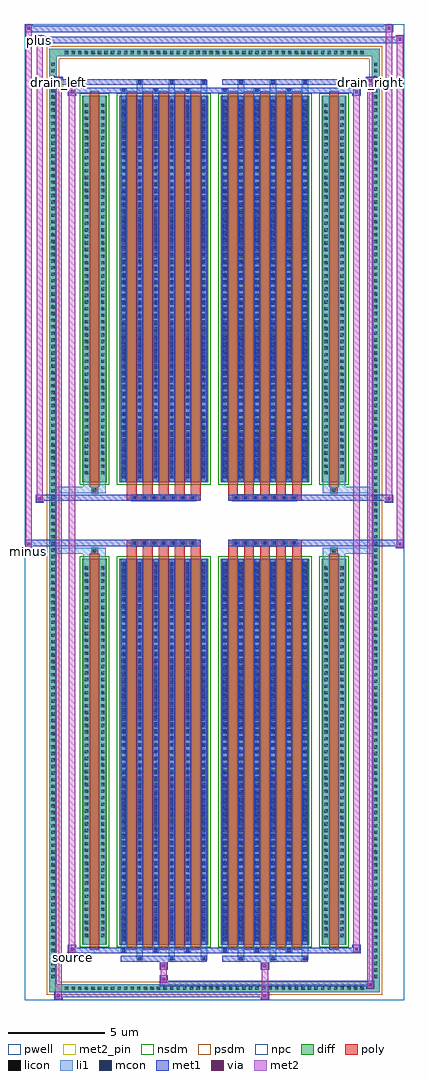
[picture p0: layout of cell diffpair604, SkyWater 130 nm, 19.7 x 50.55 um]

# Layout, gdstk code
import gdstk
lib = gdstk.Library(unit=1e-6, precision=5e-09)
def R(c, l, rs):  # rectangles x0, y0, x1, y1
    for r in rs: c.add(gdstk.rectangle(r[:2], r[2:], *l))
def A(c, l, x, y, w, h, nx, ny, dx, dy):  # array of equal rectangles
    R(c, l, [(x+i*dx, y+j*dy, x+i*dx+w, y+j*dy+h) for i in range(nx) for j in range(ny)])
def P(c, l, *ps):  # polygons
    for p in ps: c.add(gdstk.Polygon(p, *l))
pwell = (64, 44)
diff = (65, 20)
poly = (66, 20)
licon = (66, 44)
li1 = (67, 20)
mcon = (67, 44)
met1 = (68, 20)
via = (68, 44)
met2_pin = (69, 16)
met2 = (69, 20)
nsdm = (93, 44)
psdm = (94, 20)
npc = (95, 20)

diffpair604 = lib.new_cell('diffpair604')
R(diffpair604, pwell, [(-9.83,-24.84,9.83,25.71), (-7.15,-23.03,-0.01,-0.805), (0.01,-23.03,7.15,-0.805), (-7.15,0.805,-0.01,23.03), (0.01,0.805,7.15,23.03)])
A(diffpair604, diff, -7.855, -24.44, 0.41, 0.41, 46, 2, 0.34, 48.47)
A(diffpair604, diff, -8.56, -23.835, 0.41, 0.41, 1, 140, 0, 0.34)
A(diffpair604, diff, 8.15, -23.835, 0.41, 0.41, 1, 140, 0, 0.34)
R(diffpair604, diff, [(-7.855,-24.44,7.855,-24.03), (-8.56,-23.835,-8.15,23.835), (8.15,-23.835,8.56,23.835), (-6.84,-21.985,-5.56,-1.985), (-4.92,-21.985,-0.32,-1.985), (0.32,-21.985,4.92,-1.985), (5.56,-21.985,6.84,-1.985), (-6.84,1.985,-5.56,21.985), (-4.92,1.985,-0.32,21.985), (0.32,1.985,4.92,21.985), (5.56,1.985,6.84,21.985), (-7.855,24.03,7.855,24.44)])
P(diffpair604, diff, [(8.56,24.44),(-8.56,24.44),(-8.56,-24.03),(-8.15,-24.03),(-8.15,24.03),(8.15,24.03),(8.15,-24.03),(-8.15,-24.03),(-8.56,-24.03),(-8.56,-24.44),(8.56,-24.44)])
A(diffpair604, poly, -4.53, -22.235, 0.5, 20.5, 5, 2, 0.83, 23.97)
A(diffpair604, poly, 0.71, -22.235, 0.5, 20.5, 5, 2, 0.83, 23.97)
A(diffpair604, poly, -4.53, -1.735, 0.5, 0.4, 5, 2, 0.83, 3.07)
A(diffpair604, poly, 0.71, -1.735, 0.5, 0.4, 5, 2, 0.83, 3.07)
A(diffpair604, poly, -4.285, -1.335, 0.33, 0.33, 7, 2, 0.5, 2.34)
A(diffpair604, poly, 0.955, -1.335, 0.33, 0.33, 7, 2, 0.5, 2.34)
R(diffpair604, poly, [(-6.45,-22.235,-5.95,-1.735), (5.95,-22.235,6.45,-1.735), (-6.365,-1.735,-6.035,-1.405), (-6.365,-1.735,-6.035,-1.405), (6.035,-1.735,6.365,-1.405), (6.035,-1.735,6.365,-1.405), (-4.53,-1.335,-0.71,-1.005), (0.71,-1.335,4.53,-1.005), (-4.53,1.005,-0.71,1.335), (0.71,1.005,4.53,1.335), (-6.365,1.405,-6.035,1.735), (-6.365,1.405,-6.035,1.735), (6.035,1.405,6.365,1.735), (6.035,1.405,6.365,1.735), (-6.45,1.735,-5.95,22.235), (5.95,1.735,6.45,22.235)])
A(diffpair604, licon, -7.735, -24.32, 0.17, 0.17, 46, 2, 0.34, 48.47)
A(diffpair604, licon, -8.44, -23.715, 0.17, 0.17, 1, 140, 0, 0.34)
A(diffpair604, licon, 8.27, -23.715, 0.17, 0.17, 1, 140, 0, 0.34)
A(diffpair604, licon, -6.7, -21.59, 0.17, 0.17, 1, 57, 0, 0.34)
A(diffpair604, licon, -5.87, -21.59, 0.17, 0.17, 1, 57, 0, 0.34)
A(diffpair604, licon, -4.78, -21.59, 0.17, 0.17, 6, 57, 0.83, 0.34)
A(diffpair604, licon, 0.46, -21.59, 0.17, 0.17, 6, 57, 0.83, 0.34)
A(diffpair604, licon, 5.7, -21.59, 0.17, 0.17, 1, 57, 0, 0.34)
A(diffpair604, licon, 6.53, -21.59, 0.17, 0.17, 1, 57, 0, 0.34)
A(diffpair604, licon, -4.205, -1.255, 0.17, 0.17, 7, 2, 0.5, 2.34)
A(diffpair604, licon, 1.035, -1.255, 0.17, 0.17, 7, 2, 0.5, 2.34)
A(diffpair604, licon, -6.7, 2.38, 0.17, 0.17, 1, 57, 0, 0.34)
A(diffpair604, licon, -5.87, 2.38, 0.17, 0.17, 1, 57, 0, 0.34)
A(diffpair604, licon, -4.78, 2.38, 0.17, 0.17, 6, 57, 0.83, 0.34)
A(diffpair604, licon, 0.46, 2.38, 0.17, 0.17, 6, 57, 0.83, 0.34)
A(diffpair604, licon, 5.7, 2.38, 0.17, 0.17, 1, 57, 0, 0.34)
A(diffpair604, licon, 6.53, 2.38, 0.17, 0.17, 1, 57, 0, 0.34)
R(diffpair604, licon, [(-6.285,-1.655,-6.115,-1.485), (6.115,-1.655,6.285,-1.485), (-6.285,1.485,-6.115,1.655), (6.115,1.485,6.285,1.655)])
A(diffpair604, li1, -7.815, -24.4, 0.33, 0.33, 46, 2, 0.34, 48.47)
A(diffpair604, li1, -8.52, -23.795, 0.33, 0.33, 1, 140, 0, 0.34)
A(diffpair604, li1, 8.19, -23.795, 0.33, 0.33, 1, 140, 0, 0.34)
A(diffpair604, li1, -4.03, -22.79, 0.33, 0.805, 3, 2, 1.66, 44.775)
A(diffpair604, li1, -3.95, -22.79, 0.17, 0.17, 3, 2, 1.66, 45.41)
A(diffpair604, li1, 1.21, -22.79, 0.33, 0.805, 3, 2, 1.66, 44.775)
A(diffpair604, li1, 1.29, -22.79, 0.17, 0.17, 3, 2, 1.66, 45.41)
A(diffpair604, li1, -4.86, -22.36, 0.33, 0.375, 3, 2, 1.66, 44.345)
A(diffpair604, li1, -4.78, -22.36, 0.17, 0.17, 3, 2, 1.66, 44.55)
A(diffpair604, li1, 0.38, -22.36, 0.33, 0.375, 3, 2, 1.66, 44.345)
A(diffpair604, li1, 0.46, -22.36, 0.17, 0.17, 3, 2, 1.66, 44.55)
A(diffpair604, li1, -4.86, -21.985, 0.33, 20, 6, 2, 0.83, 23.97)
A(diffpair604, li1, 0.38, -21.985, 0.33, 20, 6, 2, 0.83, 23.97)
A(diffpair604, li1, -4.78, -21.79, 0.17, 0.17, 6, 55, 0.83, 0.36)
A(diffpair604, li1, -4.78, -21.79, 0.17, 19.61, 6, 2, 0.83, 23.97)
A(diffpair604, li1, 0.46, -21.79, 0.17, 0.17, 6, 55, 0.83, 0.36)
A(diffpair604, li1, 0.46, -21.79, 0.17, 19.61, 6, 2, 0.83, 23.97)
A(diffpair604, li1, -6.78, -21.67, 0.33, 0.33, 1, 57, 0, 0.34)
A(diffpair604, li1, -5.95, -21.67, 0.33, 0.33, 1, 57, 0, 0.34)
A(diffpair604, li1, -4.86, -21.67, 0.33, 0.33, 6, 57, 0.83, 0.34)
A(diffpair604, li1, 0.38, -21.67, 0.33, 0.33, 6, 57, 0.83, 0.34)
A(diffpair604, li1, 5.62, -21.67, 0.33, 0.33, 1, 57, 0, 0.34)
A(diffpair604, li1, 6.45, -21.67, 0.33, 0.33, 1, 57, 0, 0.34)
A(diffpair604, li1, -4.285, -1.335, 0.33, 0.33, 7, 2, 0.5, 2.34)
A(diffpair604, li1, 0.955, -1.335, 0.33, 0.33, 7, 2, 0.5, 2.34)
A(diffpair604, li1, -4.78, 2.18, 0.17, 0.17, 6, 55, 0.83, 0.36)
A(diffpair604, li1, 0.46, 2.18, 0.17, 0.17, 6, 55, 0.83, 0.36)
A(diffpair604, li1, -6.78, 2.3, 0.33, 0.33, 1, 57, 0, 0.34)
A(diffpair604, li1, -5.95, 2.3, 0.33, 0.33, 1, 57, 0, 0.34)
A(diffpair604, li1, -4.86, 2.3, 0.33, 0.33, 6, 57, 0.83, 0.34)
A(diffpair604, li1, 0.38, 2.3, 0.33, 0.33, 6, 57, 0.83, 0.34)
A(diffpair604, li1, 5.62, 2.3, 0.33, 0.33, 1, 57, 0, 0.34)
A(diffpair604, li1, 6.45, 2.3, 0.33, 0.33, 1, 57, 0, 0.34)
R(diffpair604, li1, [(-8.56,-24.44,-8.15,-24.03), (-8.56,-24.44,-8.15,-24.03), (-8.15,-24.44,8.15,-24.03), (8.15,-24.44,8.56,-24.03), (8.15,-24.44,8.56,-24.03), (-8.56,-24.03,-8.15,24.03), (8.15,-24.03,8.56,24.03), (-6.78,-21.985,-6.45,-1.985), (-5.95,-21.985,-5.62,-1.985), (5.62,-21.985,5.95,-1.985), (6.45,-21.985,6.78,-1.985), (-6.78,-1.985,-6.45,-1.405), (-5.95,-1.985,-5.62,-1.405), (5.62,-1.985,5.95,-1.405), (6.45,-1.985,6.78,-1.405), (-8.56,-1.735,-6.365,-1.405), (-6.78,-1.735,-6.365,-1.405), (-6.365,-1.735,-6.035,-1.405), (-6.035,-1.735,-5.62,-1.405), (5.62,-1.735,6.035,-1.405), (6.035,-1.735,6.365,-1.405), (6.035,-1.735,8.56,-1.405), (6.365,-1.735,6.78,-1.405), (-8.56,1.405,-6.365,1.735), (-6.78,1.405,-6.365,1.735), (-6.78,1.405,-6.45,1.985), (-6.365,1.405,-6.035,1.735), (-6.035,1.405,-5.62,1.735), (-5.95,1.405,-5.62,1.985), (5.62,1.405,6.035,1.735), (5.62,1.405,5.95,1.985), (6.035,1.405,6.365,1.735), (6.035,1.405,8.56,1.735), (6.365,1.405,6.78,1.735), (6.45,1.405,6.78,1.985), (-6.78,1.985,-6.45,21.985), (-5.95,1.985,-5.62,21.985), (5.62,1.985,5.95,21.985), (6.45,1.985,6.78,21.985), (-8.56,24.03,-8.15,24.44), (-8.56,24.03,-8.15,24.44), (-8.15,24.03,8.15,24.44), (8.15,24.03,8.56,24.44), (8.15,24.03,8.56,24.44)])
A(diffpair604, mcon, -3.95, -22.79, 0.17, 0.17, 3, 2, 1.66, 45.41)
A(diffpair604, mcon, 1.29, -22.79, 0.17, 0.17, 3, 2, 1.66, 45.41)
A(diffpair604, mcon, -4.78, -22.36, 0.17, 0.17, 3, 2, 1.66, 44.55)
A(diffpair604, mcon, 0.46, -22.36, 0.17, 0.17, 3, 2, 1.66, 44.55)
A(diffpair604, mcon, -4.78, -21.79, 0.17, 0.17, 6, 55, 0.83, 0.36)
A(diffpair604, mcon, 0.46, -21.79, 0.17, 0.17, 6, 55, 0.83, 0.36)
A(diffpair604, mcon, -4.205, -1.255, 0.17, 0.17, 7, 2, 0.5, 2.34)
A(diffpair604, mcon, 1.035, -1.255, 0.17, 0.17, 7, 2, 0.5, 2.34)
A(diffpair604, mcon, -4.78, 2.18, 0.17, 0.17, 6, 55, 0.83, 0.36)
A(diffpair604, mcon, 0.46, 2.18, 0.17, 0.17, 6, 55, 0.83, 0.36)
A(diffpair604, met1, -4.01, -22.85, 0.29, 0.29, 3, 2, 1.66, 45.41)
A(diffpair604, met1, 1.23, -22.85, 0.29, 0.29, 3, 2, 1.66, 45.41)
A(diffpair604, met1, -4.84, -22.42, 0.29, 0.29, 3, 2, 1.66, 44.55)
A(diffpair604, met1, 0.4, -22.42, 0.29, 0.29, 3, 2, 1.66, 44.55)
A(diffpair604, met1, -4.84, -21.985, 0.29, 20, 6, 2, 0.83, 23.97)
A(diffpair604, met1, 0.4, -21.985, 0.29, 20, 6, 2, 0.83, 23.97)
A(diffpair604, met1, -4.84, -21.85, 0.29, 0.29, 6, 55, 0.83, 0.36)
A(diffpair604, met1, 0.4, -21.85, 0.29, 0.29, 6, 55, 0.83, 0.36)
A(diffpair604, met1, -4.265, -1.315, 0.29, 0.29, 7, 2, 0.5, 2.34)
A(diffpair604, met1, 0.975, -1.315, 0.29, 0.29, 7, 2, 0.5, 2.34)
A(diffpair604, met1, -4.84, 2.12, 0.29, 0.29, 6, 55, 0.83, 0.36)
A(diffpair604, met1, 0.4, 2.12, 0.29, 0.29, 6, 55, 0.83, 0.36)
R(diffpair604, met1, [(-8.29,-24.84,-7.86,-24.41), (2.405,-24.84,2.835,-24.41), (-8.29,-24.7,2.835,-24.41), (7.86,-24.27,8.29,-23.84), (-2.835,-24.13,8.29,-23.84), (-2.835,-23.99,-2.405,-23.56), (-2.835,-23.28,-2.405,-22.85), (2.405,-23.28,2.835,-22.85), (-4.84,-22.85,-0.4,-22.56), (0.4,-22.85,4.84,-22.56), (-7.58,-22.42,-7.15,-21.99), (-7.58,-22.42,-4.84,-22.13), (-4.84,-22.42,-0.4,-22.13), (-0.4,-22.42,0.4,-22.13), (0.4,-22.42,4.84,-22.13), (4.84,-22.42,7.58,-22.13), (7.15,-22.42,7.58,-21.99), (-9.83,-1.435,-9.4,-1.005), (9.4,-1.435,9.83,-1.005), (-9.83,-1.335,-0.71,-1.005), (-4.53,-1.335,-0.71,-1.005), (0.71,-1.335,4.53,-1.005), (0.71,-1.335,9.83,-1.005), (-9.26,0.905,-8.83,1.335), (8.83,0.905,9.26,1.335), (-9.26,1.005,-4.53,1.335), (-4.53,1.005,-0.71,1.335), (0.71,1.005,4.53,1.335), (4.53,1.005,9.26,1.335), (-7.58,21.99,-7.15,22.42), (7.15,21.99,7.58,22.42), (-7.58,22.13,-4.84,22.42), (-4.84,22.13,-0.4,22.42), (-0.4,22.13,0.4,22.42), (0.4,22.13,4.84,22.42), (4.84,22.13,7.58,22.42), (-8.29,22.56,-7.86,22.99), (-8.29,22.56,-4.84,22.85), (-4.84,22.56,-0.4,22.85), (0.4,22.56,4.84,22.85), (4.84,22.56,8.29,22.85), (7.86,22.56,8.29,22.99), (-9.26,24.71,-8.83,25.14), (-9.26,24.71,-7.15,25.04), (-7.15,24.71,7.15,25.04), (7.15,24.71,9.83,25.04), (9.4,24.71,9.83,25.14), (-9.83,25.28,-9.4,25.71), (-9.83,25.28,-7.15,25.61), (-7.15,25.28,7.15,25.61), (7.15,25.28,9.26,25.61), (8.83,25.28,9.26,25.71)])
R(diffpair604, via, [(-8.15,-24.7,-8,-24.55), (2.545,-24.7,2.695,-24.55), (8,-24.13,8.15,-23.98), (-2.695,-23.85,-2.545,-23.7), (-2.695,-23.14,-2.545,-22.99), (2.545,-23.14,2.695,-22.99), (-7.44,-22.28,-7.29,-22.13), (7.29,-22.28,7.44,-22.13), (-9.69,-1.295,-9.54,-1.145), (9.54,-1.295,9.69,-1.145), (-9.12,1.045,-8.97,1.195), (8.97,1.045,9.12,1.195), (-7.44,22.13,-7.29,22.28), (7.29,22.13,7.44,22.28), (-8.15,22.7,-8,22.85), (8,22.7,8.15,22.85), (-9.12,24.85,-8.97,25), (9.54,24.85,9.69,25), (-9.69,25.42,-9.54,25.57), (8.97,25.42,9.12,25.57)])
R(diffpair604, met2_pin, [(-7.615,-22.87,-7.115,-22.37), (-9.865,-1.885,-9.365,-1.385), (-8.325,22.44,-7.825,22.94), (7.825,22.44,8.325,22.94), (-9.295,24.59,-8.795,25.09)])
R(diffpair604, met2, [(-8.24,-24.79,-7.91,-24.46), (-8.24,-24.79,-7.91,22.94), (2.455,-24.79,2.785,-24.46), (2.455,-24.46,2.785,-23.23), (7.91,-24.22,8.24,-23.89), (7.91,-24.22,8.24,22.94), (-2.785,-23.94,-2.455,-23.61), (-2.785,-23.61,-2.455,-23.23), (-2.785,-23.23,-2.455,-22.9), (2.455,-23.23,2.785,-22.9), (-7.53,-22.37,-7.2,-22.04), (-7.53,-22.37,-7.2,22.37), (7.2,-22.37,7.53,-22.04), (7.2,-22.37,7.53,22.37), (-9.78,-1.385,-9.45,-1.055), (-9.78,-1.385,-9.45,25.66), (9.45,-1.385,9.78,-1.055), (9.45,-1.385,9.78,25.09), (-9.21,0.955,-8.88,1.285), (-9.21,0.955,-8.88,25.09), (8.88,0.955,9.21,1.285), (8.88,0.955,9.21,25.66), (-7.53,22.04,-7.2,22.37), (7.2,22.04,7.53,22.37), (-8.24,22.61,-7.91,22.94), (7.91,22.61,8.24,22.94), (-9.21,24.76,-8.88,25.09), (9.45,24.76,9.78,25.09), (-9.78,25.33,-9.45,25.66), (8.88,25.33,9.21,25.66)])
P(diffpair604, met2, [(9.78,-1.385),(9.78,-1.385),(9.78,-1.055),(9.78,-1.055)],
  [(9.78,24.76),(9.78,24.76),(9.78,25.09),(9.78,25.09)],
  [(-9.45,-1.385),(-9.45,-1.385),(-9.45,-1.055),(-9.45,-1.055)],
  [(-9.45,25.33),(-9.45,25.33),(-9.45,25.66),(-9.45,25.66)],
  [(9.21,0.955),(9.21,0.955),(9.21,1.285),(9.21,1.285)],
  [(9.21,25.33),(9.21,25.33),(9.21,25.66),(9.21,25.66)],
  [(-8.88,0.955),(-8.88,0.955),(-8.88,1.285),(-8.88,1.285)],
  [(-8.88,24.76),(-8.88,24.76),(-8.88,25.09),(-8.88,25.09)],
  [(-7.91,-24.79),(-7.91,-24.79),(-7.91,-24.46),(-7.91,-24.46)],
  [(-7.91,22.61),(-7.91,22.61),(-7.91,22.94),(-7.91,22.94)],
  [(8.24,-24.22),(8.24,-24.22),(8.24,-23.89),(8.24,-23.89)],
  [(8.24,22.61),(8.24,22.61),(8.24,22.94),(8.24,22.94)],
  [(-7.2,-22.37),(-7.2,-22.37),(-7.2,-22.04),(-7.2,-22.04)],
  [(-7.2,22.04),(-7.2,22.04),(-7.2,22.37),(-7.2,22.37)],
  [(7.53,-22.37),(7.53,-22.37),(7.53,-22.04),(7.53,-22.04)],
  [(7.53,22.04),(7.53,22.04),(7.53,22.37),(7.53,22.37)])
R(diffpair604, nsdm, [(-6.97,-22.115,-5.43,-1.855), (-5.05,-22.115,-0.19,-1.855), (0.19,-22.115,5.05,-1.855), (5.43,-22.115,6.97,-1.855), (-6.97,1.855,-5.43,22.115), (-5.05,1.855,-0.19,22.115), (0.19,1.855,5.05,22.115), (5.43,1.855,6.97,22.115)])
P(diffpair604, psdm, [(8.69,24.57),(-8.69,24.57),(-8.69,-23.9),(-8.02,-23.9),(-8.02,23.9),(8.02,23.9),(8.02,-23.9),(-8.02,-23.9),(-8.69,-23.9),(-8.69,-24.57),(8.69,-24.57)])
A(diffpair604, npc, -4.305, -1.355, 0.37, 0.37, 7, 2, 0.5, 2.34)
A(diffpair604, npc, 0.935, -1.355, 0.37, 0.37, 7, 2, 0.5, 2.34)
R(diffpair604, npc, [(-6.385,-1.755,-6.015,-1.385), (6.015,-1.755,6.385,-1.385), (-4.305,-1.355,-3.435,-0.985), (-4.305,-1.355,-3.435,-0.985), (-3.805,-1.355,-2.935,-0.985), (-3.805,-1.355,-2.935,-0.985), (-3.305,-1.355,-2.435,-0.985), (-3.305,-1.355,-2.435,-0.985), (-2.805,-1.355,-1.935,-0.985), (-2.805,-1.355,-1.935,-0.985), (-2.305,-1.355,-1.435,-0.985), (-2.305,-1.355,-1.435,-0.985), (-1.805,-1.355,-0.935,-0.985), (-1.805,-1.355,-0.935,-0.985), (0.935,-1.355,1.805,-0.985), (0.935,-1.355,1.805,-0.985), (1.435,-1.355,2.305,-0.985), (1.435,-1.355,2.305,-0.985), (1.935,-1.355,2.805,-0.985), (1.935,-1.355,2.805,-0.985), (2.435,-1.355,3.305,-0.985), (2.435,-1.355,3.305,-0.985), (2.935,-1.355,3.805,-0.985), (2.935,-1.355,3.805,-0.985), (3.435,-1.355,4.305,-0.985), (3.435,-1.355,4.305,-0.985), (-4.305,0.985,-3.435,1.355), (-4.305,0.985,-3.435,1.355), (-3.805,0.985,-2.935,1.355), (-3.805,0.985,-2.935,1.355), (-3.305,0.985,-2.435,1.355), (-3.305,0.985,-2.435,1.355), (-2.805,0.985,-1.935,1.355), (-2.805,0.985,-1.935,1.355), (-2.305,0.985,-1.435,1.355), (-2.305,0.985,-1.435,1.355), (-1.805,0.985,-0.935,1.355), (-1.805,0.985,-0.935,1.355), (0.935,0.985,1.805,1.355), (0.935,0.985,1.805,1.355), (1.435,0.985,2.305,1.355), (1.435,0.985,2.305,1.355), (1.935,0.985,2.805,1.355), (1.935,0.985,2.805,1.355), (2.435,0.985,3.305,1.355), (2.435,0.985,3.305,1.355), (2.935,0.985,3.805,1.355), (2.935,0.985,3.805,1.355), (3.435,0.985,4.305,1.355), (3.435,0.985,4.305,1.355), (-6.385,1.385,-6.015,1.755), (6.015,1.385,6.385,1.755)])
diffpair604.add(gdstk.Label('minus', (-9.615,-1.635), layer=69, texttype=5))
diffpair604.add(gdstk.Label('drain_right', (8.075,22.69), layer=69, texttype=5))
diffpair604.add(gdstk.Label('drain_left', (-8.075,22.69), layer=69, texttype=5))
diffpair604.add(gdstk.Label('source', (-7.365,-22.62), layer=69, texttype=5))
diffpair604.add(gdstk.Label('plus', (-9.045,24.84), layer=69, texttype=5))

lib.write_gds('diffpair604.gds')
